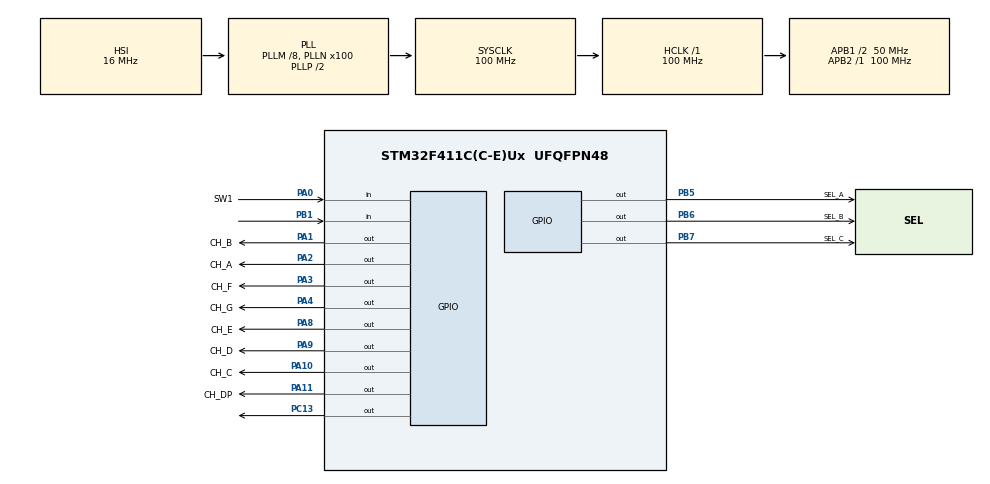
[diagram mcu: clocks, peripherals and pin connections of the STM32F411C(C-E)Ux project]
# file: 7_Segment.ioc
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Mcu.Family=STM32F4
Mcu.Name=STM32F411C(C-E)Ux
Mcu.Package=UFQFPN48
NVIC.PriorityGroup=NVIC_PRIORITYGROUP_4
PA0-WKUP.GPIO_Label=SW1
PA0-WKUP.GPIO_PuPd=GPIO_PULLUP
PA0-WKUP.Signal=GPIO_Input
PA1.GPIO_Label=CH_B
PA1.GPIO_Speed=GPIO_SPEED_FREQ_VERY_HIGH
PA1.PinState=GPIO_PIN_RESET
PA1.Signal=GPIO_Output
PA10.GPIO_Label=CH_C
PA10.GPIO_Speed=GPIO_SPEED_FREQ_VERY_HIGH
PA10.PinState=GPIO_PIN_RESET
PA10.Signal=GPIO_Output
PA11.GPIO_Label=CH_DP
PA11.GPIO_Speed=GPIO_SPEED_FREQ_VERY_HIGH
PA11.PinState=GPIO_PIN_RESET
PA11.Signal=GPIO_Output
PA2.GPIO_Label=CH_A
PA2.GPIO_Speed=GPIO_SPEED_FREQ_VERY_HIGH
PA2.PinState=GPIO_PIN_RESET
PA2.Signal=GPIO_Output
PA3.GPIO_Label=CH_F
PA3.GPIO_Speed=GPIO_SPEED_FREQ_VERY_HIGH
PA3.PinState=GPIO_PIN_RESET
PA3.Signal=GPIO_Output
PA4.GPIO_Label=CH_G
PA4.GPIO_Speed=GPIO_SPEED_FREQ_VERY_HIGH
PA4.PinState=GPIO_PIN_RESET
PA4.Signal=GPIO_Output
PA8.GPIO_Label=CH_E
PA8.GPIO_Speed=GPIO_SPEED_FREQ_VERY_HIGH
PA8.PinState=GPIO_PIN_RESET
PA8.Signal=GPIO_Output
PA9.GPIO_Label=CH_D
PA9.GPIO_Speed=GPIO_SPEED_FREQ_VERY_HIGH
PA9.PinState=GPIO_PIN_RESET
PA9.Signal=GPIO_Output
PB1.Signal=GPIO_Input
PB5.GPIO_Label=SEL_A
PB5.GPIO_Speed=GPIO_SPEED_FREQ_VERY_HIGH
PB5.PinState=GPIO_PIN_RESET
PB5.Signal=GPIO_Output
PB6.GPIO_Label=SEL_B
PB6.GPIO_Speed=GPIO_SPEED_FREQ_VERY_HIGH
PB6.Signal=GPIO_Output
PB7.GPIO_Label=SEL_C
PB7.GPIO_Speed=GPIO_SPEED_FREQ_VERY_HIGH
PB7.Signal=GPIO_Output
PC13-ANTI_TAMP.Signal=GPIO_Output
PH0\ -\ OSC_IN.Mode=HSE-External-Oscillator
PH0\ -\ OSC_IN.Signal=RCC_OSC_IN
PH1\ -\ OSC_OUT.Mode=HSE-External-Oscillator
PH1\ -\ OSC_OUT.Signal=RCC_OSC_OUT
ProjectManager.HeapSize=0x200
ProjectManager.StackSize=0x400
ProjectManager.TargetToolchain=CMake
RCC.48MHZClocksFreq_Value=50000000
RCC.AHBFreq_Value=100000000
RCC.APB1CLKDivider=RCC_HCLK_DIV2
RCC.APB1Freq_Value=50000000
RCC.APB1TimFreq_Value=100000000
RCC.APB2Freq_Value=100000000
RCC.APB2TimFreq_Value=100000000
RCC.CortexFreq_Value=100000000
RCC.HCLKFreq_Value=100000000
RCC.HSE_VALUE=25000000
RCC.HSI_VALUE=16000000
RCC.LSE_VALUE=32768
RCC.PLLM=8
RCC.PLLN=100
RCC.SYSCLKFreq_VALUE=100000000
RCC.SYSCLKSource=RCC_SYSCLKSOURCE_PLLCLK
RCC.VCOOutputFreq_Value=200000000
board=custom

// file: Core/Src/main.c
/* USER CODE BEGIN Header */
/**
 ******************************************************************************
 * @file           : main.c
 * @brief          : Main program body
 ******************************************************************************
 * @attention
 *
 * Copyright (c) 2026 STMicroelectronics.
 * All rights reserved.
 *
 * This software is licensed under terms that can be found in the LICENSE file
 * in the root directory of this software component.
 * If no LICENSE file comes with this software, it is provided AS-IS.
 *
 ******************************************************************************
 */
/* USER CODE END Header */
#include "main.h"

/* USER CODE BEGIN Includes */
// #include "ssd1306.h"
// #include "ssd1306_fonts.h"
#include <string.h>
// #include "stm32l4xx_hal.h"
/* USER CODE END Includes */

/* USER CODE BEGIN PTD */
int digit_tens;
int digit_ones;
int digit_tenths;

// Debounce variables for EXTI
volatile int exti_debounce_counter = 0;
volatile int exti_debounce_flag = 0;
/* USER CODE END PTD */

/* USER CODE BEGIN PD */
// void Update_Number(int command);
#define DECREMENT 0xFFFFFFFF
#define INCREMENT 0x00000001
#define EXTI_DEBOUNCE_DELAY 300

void GPIO_Init(void);
void DisplayNumber(void);
void SoftwareDelay(volatile int);
int ReadButtons(void);
extern void Update_Number(int val_r0, int *ptens, int *pones, int *ptenths);

const uint32_t segTable[10] = {
		0b0111111,   //0: A,B,C,D,E,F
		0b0000110,   //1: B,C
		0b1011011,   //2: A,B,G,E,D
		0b1001111,   //3: A,B,G,C,D
		0b1100110,   //4: F,G,B,C
		0b1101101,   //5: A,F,G,C,D
		0b1111101,   //6: A,F,G,E,D,C
		0b0000111,   //7: A,B,C
		0b1111111,   //8: A,B,C,D,E,F,G
		0b1101111    //9: A,B,C,D,F,G
};

/* USER CODE END PD */

void SystemClock_Config(void);
static void MX_GPIO_Init(void);

/* USER CODE BEGIN 0 */

// void Update_Number(void)
// {
// 	if(!(GPIOA->IDR & SW1_Pin)) {  // increment 0.1
// 		digit_tenths++;
// 		if(digit_tenths >= 10) {
// 			digit_tenths = 0;
// 			digit_ones++;
// 			if(digit_ones >= 10) {
// 				digit_ones = 0;
// 				digit_tens++;
// 				if(digit_tens >= 10) digit_tens = 0;
// 			}
// 		}
//   }
//   SoftwareDelay(5000);
// 	// } else if(command == -1) {  // decrement 0.1
// 	// 	digit_tenths--;
// 	// 	if(digit_tenths < 0) {
// 	// 		digit_tenths = 9;
// 	// 		digit_ones--;
// 	// 		if(digit_ones < 0) {
// 	// 			digit_ones = 9;
// 	// 			digit_tens--;
// 	// 			if(digit_tens < 0) digit_tens = 9;
// 	// 		}
// 	// 	}
// 	// }
// }

// ------------------- DISPLAY FUNCTION -------------------
void SendSegments(uint8_t digit, int dot)
{
	uint32_t out = 0;

	if(digit & 0b0000001) out |= 0x01 << 2;
	if(digit & 0b0000010) out |= 0x01 << 1;
	if(digit & 0b0000100) out |= 0x01 << 10;
	if(digit & 0b0001000) out |= 0x01 << 9;
	if(digit & 0b0010000) out |= 0x01 << 8;
	if(digit & 0b0100000) out |= 0x01 << 3;
	if(digit & 0b1000000) out |= 0x01 << 4;
	if(dot)          out |= CH_DP_Pin;

	// Clear previous segments
	GPIOA->ODR &= ~(CH_A_Pin|CH_B_Pin|CH_C_Pin|CH_D_Pin|CH_E_Pin|CH_F_Pin|CH_G_Pin|CH_DP_Pin);
	GPIOA->ODR |= out;
}

void DisplayNumber(void)
{
	// ----- Tens -----
	SEL_C_GPIO_Port->ODR |=  SEL_C_Pin; // disable tenths
	SEL_B_GPIO_Port->ODR |=  SEL_B_Pin;  // disable ones
	SendSegments(segTable[digit_tens], 0);
	SEL_A_GPIO_Port->ODR &= ~SEL_A_Pin;  // enable tens
	SoftwareDelay(3000);
	SEL_A_GPIO_Port->ODR |= SEL_A_Pin;

	// ----- Ones -----
	SendSegments(segTable[digit_ones], 1); // decimal point
	SEL_B_GPIO_Port->ODR &= ~SEL_B_Pin;  // enable ones
	SoftwareDelay(3000);
	SEL_B_GPIO_Port->ODR |= SEL_B_Pin;

	// ----- Tenths -----
	SendSegments(segTable[digit_tenths], 0);
	SEL_C_GPIO_Port->ODR &= ~SEL_C_Pin; // enable tenths
	SoftwareDelay(3000);
	SEL_C_GPIO_Port->ODR |= SEL_C_Pin;
}

// ------------------- BUTTON READ -------------------
int ReadButtons(void)
{
	// Right PB (PA12) active LOW
	if(!(GPIOA->IDR & SW1_Pin)) return 0xFFFFFFFF;

	// Left PB (PB1) active HIGH
	// if(GPIOB->IDR & (1<<1)) return 0x00000001;

	return 0;
}
// ------------------- SOFTWARE DELAY -------------------
void SoftwareDelay(volatile int n)
{
	for(; n>0; n--);
}

void EXTI0_IRQHandler(void)
{
  // Debounce: Only process if debounce period has elapsed
  if(exti_debounce_counter == 0 && !exti_debounce_flag) {
    // Button press accepted after debounce
    Update_Number(DECREMENT, &digit_tens, &digit_ones, &digit_tenths);
    exti_debounce_flag = 1;           // Mark as debouncing
    exti_debounce_counter = EXTI_DEBOUNCE_DELAY;  // Set debounce timer
  }
  EXTI->PR |= 0x0001;  // Clear EXTI pending flag
}

void EXTI1_IRQHandler(void)
{
  // Debounce: Only process if debounce period has elapsed
  if(exti_debounce_counter == 0 && !exti_debounce_flag) {
    // Button press accepted after debounce
    Update_Number(INCREMENT, &digit_tens, &digit_ones, &digit_tenths);
    exti_debounce_flag = 1;           // Mark as debouncing
    exti_debounce_counter = EXTI_DEBOUNCE_DELAY;  // Set debounce timer
  }
  EXTI->PR |= 0x0002;  // Clear EXTI pending flag
}
/* USER CODE END 0 */

int main(void)
{

  /* USER CODE BEGIN 1 */

	digit_tens = 4;
	digit_ones = 7;
	digit_tenths = 6;

  /* USER CODE END 1 */

  /* MCU Configuration--------------------------------------------------------*/

  /* Reset of all peripherals, Initializes the Flash interface and the Systick. */
  HAL_Init();

  /* Configure the system clock */
  SystemClock_Config();

  /* Initialize all configured peripherals */
  MX_GPIO_Init();
  /* USER CODE BEGIN 2 */
//	ssd1306_Init();
//	ssd1306_Fill(Black);
//	ssd1306_SetCursor(0,0);
//	ssd1306_WriteString("SKEE3223 APPBOARD\n",Font_7x10,White);
//	ssd1306_SetCursor(0,16); ssd1306_WriteString("Group 23",Font_7x10,White);
//	ssd1306_SetCursor(0,25); ssd1306_WriteString("Aaya",Font_7x10,White);
//	ssd1306_SetCursor(0,37); ssd1306_WriteString("Eilaf",Font_7x10,White);
//	ssd1306_SetCursor(0,49); ssd1306_WriteString("Leena",Font_7x10,White);
//	ssd1306_UpdateScreen();

  GPIOB->MODER &= ~(0x03 << 2);
  GPIOB->PUPDR |= (0x01 << 2);
  RCC->APB2ENR = 0x4000;
  SYSCFG->EXTICR[0] |= (0x0001 << 4);
  EXTI->IMR |= 0X03;
  EXTI->FTSR |= 0x03;
  NVIC_EnableIRQ(EXTI0_IRQn);
  NVIC_EnableIRQ(EXTI1_IRQn);
  /* USER CODE END 2 */

  /* Infinite loop */
	while (1)
	{

    /* USER CODE BEGIN 3 */
		// Debounce counter decrement
		if(exti_debounce_counter > 0) {
			exti_debounce_counter--;
		} else if(exti_debounce_counter == 0 && exti_debounce_flag) {
			exti_debounce_flag = 0;  // Debounce period complete, ready for next press
		}
		DisplayNumber(); // multiplex display
	}
  /* USER CODE END 3 */
}

void SystemClock_Config(void)
{
  RCC_OscInitTypeDef RCC_OscInitStruct = {0};
  RCC_ClkInitTypeDef RCC_ClkInitStruct = {0};

  /** Configure the main internal regulator output voltage
  */
  __HAL_RCC_PWR_CLK_ENABLE();
  __HAL_PWR_VOLTAGESCALING_CONFIG(PWR_REGULATOR_VOLTAGE_SCALE1);

  /** Initializes the RCC Oscillators according to the specified parameters
  * in the RCC_OscInitTypeDef structure.
  */
  RCC_OscInitStruct.OscillatorType = RCC_OSCILLATORTYPE_HSI;
  RCC_OscInitStruct.HSIState = RCC_HSI_ON;
  RCC_OscInitStruct.HSICalibrationValue = RCC_HSICALIBRATION_DEFAULT;
  RCC_OscInitStruct.PLL.PLLState = RCC_PLL_ON;
  RCC_OscInitStruct.PLL.PLLSource = RCC_PLLSOURCE_HSI;
  RCC_OscInitStruct.PLL.PLLM = 8;
  RCC_OscInitStruct.PLL.PLLN = 100;
  RCC_OscInitStruct.PLL.PLLP = RCC_PLLP_DIV2;
  RCC_OscInitStruct.PLL.PLLQ = 4;
  if (HAL_RCC_OscConfig(&RCC_OscInitStruct) != HAL_OK)
  {
    Error_Handler();
  }

  /** Initializes the CPU, AHB and APB buses clocks
  */
  RCC_ClkInitStruct.ClockType = RCC_CLOCKTYPE_HCLK|RCC_CLOCKTYPE_SYSCLK
                              |RCC_CLOCKTYPE_PCLK1|RCC_CLOCKTYPE_PCLK2;
  RCC_ClkInitStruct.SYSCLKSource = RCC_SYSCLKSOURCE_PLLCLK;
  RCC_ClkInitStruct.AHBCLKDivider = RCC_SYSCLK_DIV1;
  RCC_ClkInitStruct.APB1CLKDivider = RCC_HCLK_DIV2;
  RCC_ClkInitStruct.APB2CLKDivider = RCC_HCLK_DIV1;

  if (HAL_RCC_ClockConfig(&RCC_ClkInitStruct, FLASH_LATENCY_3) != HAL_OK)
  {
    Error_Handler();
  }
}

static void MX_GPIO_Init(void)
{
  GPIO_InitTypeDef GPIO_InitStruct = {0};

  /* GPIO Ports Clock Enable */
  __HAL_RCC_GPIOC_CLK_ENABLE();
  __HAL_RCC_GPIOH_CLK_ENABLE();
  __HAL_RCC_GPIOA_CLK_ENABLE();
  __HAL_RCC_GPIOB_CLK_ENABLE();

  /*Configure GPIO pin Output Level */
  HAL_GPIO_WritePin(GPIOC, GPIO_PIN_13, GPIO_PIN_RESET);

  /*Configure GPIO pin Output Level */
  HAL_GPIO_WritePin(GPIOA, CH_B_Pin|CH_A_Pin|CH_F_Pin|CH_G_Pin
                          |CH_E_Pin|CH_D_Pin|CH_C_Pin|CH_DP_Pin, GPIO_PIN_RESET);

  /*Configure GPIO pin Output Level */
  HAL_GPIO_WritePin(GPIOB, SEL_A_Pin|SEL_B_Pin|SEL_C_Pin, GPIO_PIN_RESET);

  /*Configure GPIO pin : PC13 */
  GPIO_InitStruct.Pin = GPIO_PIN_13;
  GPIO_InitStruct.Mode = GPIO_MODE_OUTPUT_PP;
  GPIO_InitStruct.Pull = GPIO_NOPULL;
  GPIO_InitStruct.Speed = GPIO_SPEED_FREQ_LOW;
  HAL_GPIO_Init(GPIOC, &GPIO_InitStruct);

  /*Configure GPIO pin : SW1_Pin */
  GPIO_InitStruct.Pin = SW1_Pin;
  GPIO_InitStruct.Mode = GPIO_MODE_INPUT;
  GPIO_InitStruct.Pull = GPIO_PULLUP;
  HAL_GPIO_Init(SW1_GPIO_Port, &GPIO_InitStruct);

  /*Configure GPIO pins : CH_B_Pin CH_A_Pin CH_F_Pin CH_G_Pin
                           CH_E_Pin CH_D_Pin CH_C_Pin CH_DP_Pin */
  GPIO_InitStruct.Pin = CH_B_Pin|CH_A_Pin|CH_F_Pin|CH_G_Pin
                          |CH_E_Pin|CH_D_Pin|CH_C_Pin|CH_DP_Pin;
  GPIO_InitStruct.Mode = GPIO_MODE_OUTPUT_PP;
  GPIO_InitStruct.Pull = GPIO_NOPULL;
  GPIO_InitStruct.Speed = GPIO_SPEED_FREQ_VERY_HIGH;
  HAL_GPIO_Init(GPIOA, &GPIO_InitStruct);

  /*Configure GPIO pin : PB1 */
  GPIO_InitStruct.Pin = GPIO_PIN_1;
  GPIO_InitStruct.Mode = GPIO_MODE_INPUT;
  GPIO_InitStruct.Pull = GPIO_NOPULL;
  HAL_GPIO_Init(GPIOB, &GPIO_InitStruct);

  /*Configure GPIO pins : SEL_A_Pin SEL_B_Pin SEL_C_Pin */
  GPIO_InitStruct.Pin = SEL_A_Pin|SEL_B_Pin|SEL_C_Pin;
  GPIO_InitStruct.Mode = GPIO_MODE_OUTPUT_PP;
  GPIO_InitStruct.Pull = GPIO_NOPULL;
  GPIO_InitStruct.Speed = GPIO_SPEED_FREQ_VERY_HIGH;
  HAL_GPIO_Init(GPIOB, &GPIO_InitStruct);

}

void Error_Handler(void)
{
  __disable_irq();
  while (1)
  {
  }
}
